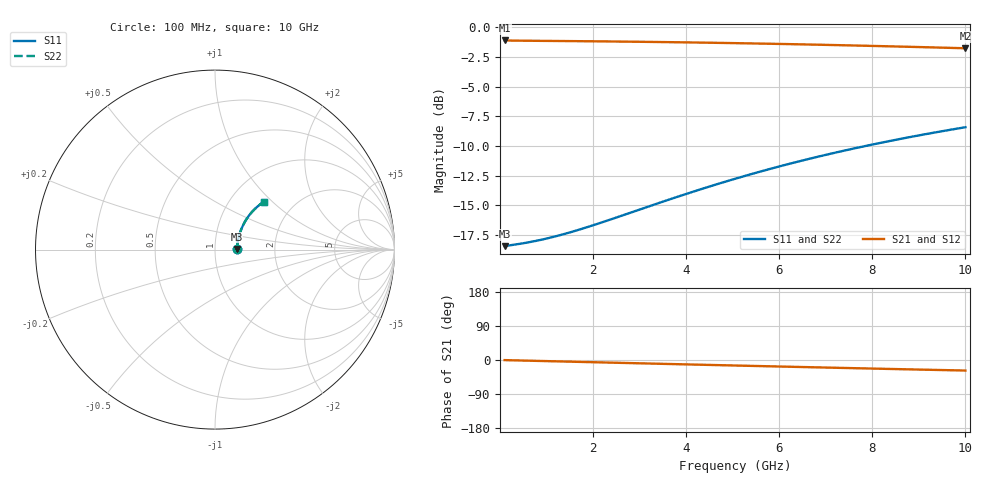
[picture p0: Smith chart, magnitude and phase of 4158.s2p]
# Hz S RI R 50.00
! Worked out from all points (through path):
!   100 points, 100 MHz to 10 GHz, reference 50 ohm
!   highest |S21| = -1.11 dB at 100 MHz (marker M1); lowest = -1.8 dB at 10 GHz (marker M2)
!   group delay of S21, straight-line fit = 7.75 ps
!   lowest |S11| = -18.4 dB at 100 MHz (marker M3), VSWR 1.27, Z = 63.6 + j0.434 ohm
!   |S11| at or under -10 dB: start of sweep to 7.845 GHz
!   |S22| runs from -18.4 to -8.4 dB; largest |S21 - S12| = 0
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1e8  0.1198 0.00336  0.8802 -0.0045  0.8802 -0.0045  0.1198 0.00336
6e8  0.1226 0.02  0.8773 -0.0269  0.8773 -0.0269  0.1226 0.02
9e8  0.1241 0.0299  0.8758 -0.0402  0.8758 -0.0402  0.1241 0.0299
1.1e9  0.1252 0.0365  0.8747 -0.0491  0.8747 -0.0491  0.1252 0.0365
1.3e9  0.1264 0.0431  0.8735 -0.058  0.8735 -0.058  0.1264 0.0431
1.5e9  0.1276 0.0496  0.8722 -0.0668  0.8722 -0.0668  0.1276 0.0496
1.8e9  0.1297 0.0593  0.8701 -0.0799  0.8701 -0.0799  0.1297 0.0593
2.3e9  0.1337 0.0754  0.8659 -0.1017  0.8659 -0.1017  0.1337 0.0754
3.4e9  0.1449 0.1096  0.8542 -0.1485  0.8542 -0.1485  0.1449 0.1096
3.9e9  0.1512 0.1246  0.8477 -0.1693  0.8477 -0.1693  0.1512 0.1246
4.3e9  0.1567 0.1363  0.842 -0.1855  0.842 -0.1855  0.1567 0.1363
4.7e9  0.1625 0.1477  0.8359 -0.2016  0.8359 -0.2016  0.1625 0.1477
5.1e9  0.1688 0.1588  0.8293 -0.2173  0.8293 -0.2173  0.1688 0.1588
5.5e9  0.1755 0.1696  0.8223 -0.2327  0.8223 -0.2327  0.1755 0.1696
5.9e9  0.1826 0.18  0.815 -0.2477  0.815 -0.2477  0.1826 0.18
6.3e9  0.19 0.1902  0.8072 -0.2625  0.8072 -0.2625  0.19 0.1902
6.7e9  0.1977 0.1999  0.7991 -0.2768  0.7991 -0.2768  0.1977 0.1999
7.5e9  0.214 0.2183  0.782 -0.3045  0.782 -0.3045  0.214 0.2183
7.9e9  0.2226 0.2269  0.773 -0.3177  0.773 -0.3177  0.2226 0.2269
8.4e9  0.2337 0.2371  0.7613 -0.3337  0.7613 -0.3337  0.2337 0.2371
9.2e9  0.2521 0.2521  0.7419 -0.358  0.7419 -0.358  0.2521 0.2521
1e10  0.2712 0.2655  0.7217 -0.3808  0.7217 -0.3808  0.2712 0.2655
